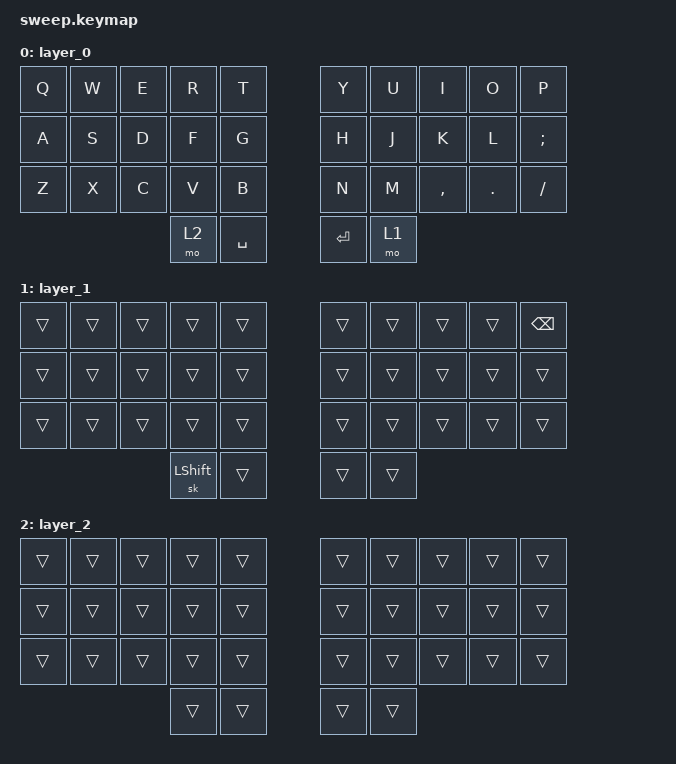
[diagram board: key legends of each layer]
#include <behaviors.dtsi>
#include <dt-bindings/zmk/keys.h>

/ {
    keymap {
        compatible = "zmk,keymap";

        layer_0 {
            bindings = <
&kp Q  &kp W  &kp E  &kp R  &kp T        &kp Y    &kp U  &kp I      &kp O    &kp P
&kp A  &kp S  &kp D  &kp F  &kp G        &kp H    &kp J  &kp K      &kp L    &kp SEMI
&kp Z  &kp X  &kp C  &kp V  &kp B        &kp N    &kp M  &kp COMMA  &kp DOT  &kp FSLH
                     &mo 2  &kp SPACE    &kp RET  &mo 1
            >;
        };

        layer_1 {
            bindings = <
&trans  &trans  &trans  &trans          &trans    &trans  &trans  &trans  &trans  &kp BACKSPACE
&trans  &trans  &trans  &trans          &trans    &trans  &trans  &trans  &trans  &trans
&trans  &trans  &trans  &trans          &trans    &trans  &trans  &trans  &trans  &trans
                        &sk LEFT_SHIFT  &trans    &trans  &trans
            >;
        };

        layer_2 {
            bindings = <
&trans  &trans  &trans  &trans  &trans    &trans  &trans  &trans  &trans  &trans
&trans  &trans  &trans  &trans  &trans    &trans  &trans  &trans  &trans  &trans
&trans  &trans  &trans  &trans  &trans    &trans  &trans  &trans  &trans  &trans
                        &trans  &trans    &trans  &trans
            >;
        };
    };
};
